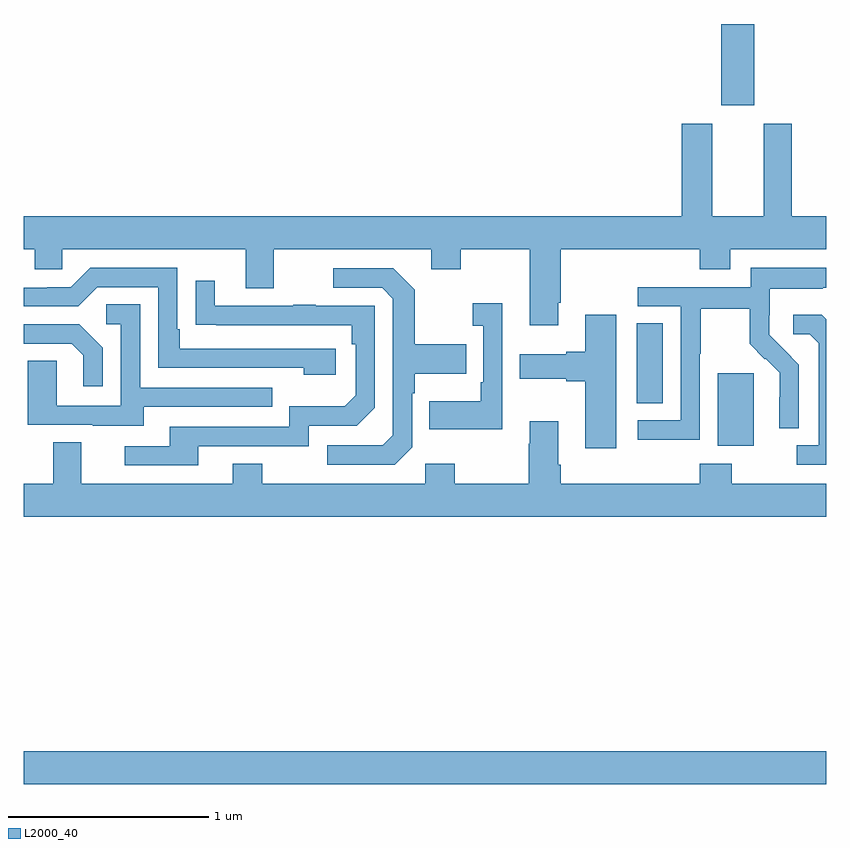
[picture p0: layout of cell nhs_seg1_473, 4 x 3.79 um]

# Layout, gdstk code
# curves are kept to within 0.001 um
import gdstk
lib = gdstk.Library(unit=1e-6, precision=1e-09)
def R(c, l, rs):  # rectangles x0, y0, x1, y1
    for r in rs: c.add(gdstk.rectangle(r[:2], r[2:], *l))
def P(c, l, *ps):  # polygons
    for p in ps: c.add(gdstk.Polygon(p, *l))
L2000_40 = (2000, 40)

nhs_seg1_473 = lib.new_cell('nhs_seg1_473')
R(nhs_seg1_473, L2000_40, [(137,538.412,141,538.576), (140.459,540.098,140.638,540.459), (140.054,540.31,140.185,540.707), (140.477,541.794,140.641,542.199)])
P(nhs_seg1_473, L2000_40, [(140.521,541.076),(141,541.076),(141,541.24),(140.827,541.24),(140.827,541.702),(140.687,541.702),(140.687,541.24),(140.431,541.24),(140.431,541.702),(140.279,541.702),(140.279,541.24),(137,541.24),(137,541.076),(137.055,541.076),(137.055,540.978),(137.193,540.978),(137.193,541.076),(138.107,541.076),(138.107,540.882),(138.247,540.882),(138.247,541.076),(139.031,541.076),(139.031,540.977),(139.179,540.977),(139.179,541.076),(139.523,541.076),(139.523,540.699),(139.663,540.699),(139.663,540.811),(139.676,540.811),(139.676,541.076),(140.369,541.076),(140.369,540.977),(140.521,540.977)],
  [(140.37,540.556),(140.373,540.556),(140.373,540.78),(140.617,540.78),(140.617,540.605),(140.694,540.528),(140.697,540.531),(140.768,540.461),(140.768,540.338),(140.766,540.338),(140.766,540.184),(140.862,540.184),(140.862,540.502),(140.716,540.65),(140.716,540.747),(140.718,540.747),(140.718,540.881),(140.981,540.881),(140.981,540.885),(141,540.885),(141,540.985),(140.622,540.985),(140.622,540.888),(140.061,540.888),(140.061,540.792),(140.274,540.792),(140.274,540.225),(140.061,540.225),(140.061,540.127),(140.37,540.127)],
  [(138.556,540.582),(137.779,540.582),(137.779,540.679),(137.766,540.679),(137.766,540.984),(137.331,540.984),(137.235,540.888),(137.117,540.888),(137.117,540.885),(137,540.886),(137,540.792),(137.271,540.792),(137.367,540.888),(137.67,540.888),(137.67,540.486),(138.395,540.486),(138.395,540.452),(138.556,540.452)],
  [(138.936,540.09),(138.936,540.359),(138.949,540.359),(138.949,540.455),(139.205,540.455),(139.205,540.603),(138.949,540.603),(138.949,540.875),(138.843,540.981),(138.543,540.981),(138.543,540.885),(138.786,540.885),(138.84,540.831),(138.84,540.15),(138.789,540.099),(138.513,540.099),(138.513,540.003),(138.849,540.003)],
  [(137.869,540.096),(138.42,540.096),(138.42,540.198),(138.66,540.198),(138.75,540.288),(138.75,540.795),(138.455,540.795),(138.455,540.8),(138.343,540.8),(138.343,540.795),(137.953,540.795),(137.953,540.919),(137.857,540.919),(137.857,540.7),(138.634,540.699),(138.634,540.602),(138.654,540.602),(138.654,540.348),(138.601,540.295),(138.324,540.295),(138.324,540.192),(137.729,540.192),(137.729,540.096),(137.505,540.096),(137.505,540),(137.869,540)],
  [(139.386,540.808),(139.239,540.808),(139.239,540.695),(139.29,540.695),(139.29,540.415),(139.278,540.415),(139.278,540.319),(139.021,540.319),(139.021,540.179),(139.386,540.179)],
  [(137.599,540.291),(138.239,540.291),(138.239,540.387),(137.58,540.387),(137.58,540.803),(137.412,540.803),(137.412,540.702),(137.484,540.702),(137.484,540.297),(137.166,540.297),(137.166,540.521),(137.021,540.521),(137.021,540.201),(137.345,540.201),(137.345,540.197),(137.599,540.197)],
  [(141,540.729),(140.978,540.751),(140.835,540.751),(140.835,540.654),(140.916,540.654),(140.963,540.607),(140.963,540.099),(140.853,540.099),(140.853,540.003),(141,540.003)],
  [(139.954,540.751),(139.799,540.751),(139.799,540.566),(139.703,540.566),(139.703,540.553),(139.473,540.553),(139.473,540.431),(139.703,540.431),(139.703,540.419),(139.799,540.419),(139.799,540.084),(139.954,540.084)],
  [(137.394,540.586),(137.278,540.702),(137,540.702),(137,540.606),(137.24,540.606),(137.297,540.549),(137.297,540.393),(137.394,540.393)],
  [(141,539.908),(140.529,539.908),(140.529,540.007),(140.369,540.007),(140.369,539.908),(139.676,539.908),(139.676,540.004),(139.663,540.004),(139.663,540.22),(139.523,540.22),(139.523,540.107),(139.516,540.107),(139.516,539.908),(139.149,539.908),(139.149,540.007),(139.002,540.007),(139.002,539.908),(138.189,539.908),(138.189,540.007),(138.041,540.007),(138.041,539.908),(137.287,539.908),(137.287,540.116),(137.147,540.116),(137.147,539.908),(137,539.908),(137,539.744),(141,539.744)])

lib.write_gds('nhs_seg1_473.gds')
